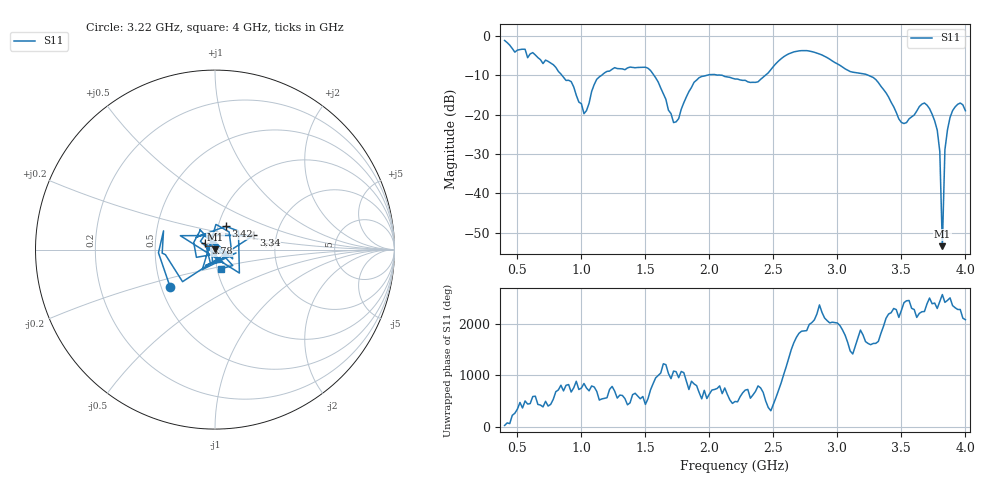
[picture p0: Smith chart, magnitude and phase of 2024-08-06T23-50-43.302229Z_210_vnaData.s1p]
!Created with skrf (http://scikit-rf.org).
# Hz S RI R 50.0
!freq ReS11 ImS11
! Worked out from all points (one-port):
!   181 points, 400 MHz to 4 GHz, reference 50 ohm
!   lowest |S11| = -53.4 dB at 3.82 GHz (marker M1), VSWR 1.00, Z = 50.1 + j0.183 ohm
!   |S11| at or under -10 dB: 1.566 GHz to 1.985 GHz (419.2 MHz wide, 23.6 % of centre); 2.088 GHz to 2.439 GHz (351.6 MHz wide, 15.5 % of centre); 3.239 GHz to end of sweep (the widest 3 of 4)
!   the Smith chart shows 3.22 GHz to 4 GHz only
!   S11 on the Smith chart (normalised r, x): 3.22 GHz: 0.56, -0.26; 3.34 GHz: 1.52, +0.25; 3.42 GHz: 1.09, +0.29; 3.78 GHz: 0.90, +0.06; 4 GHz: 1.05, -0.23
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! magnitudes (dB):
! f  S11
! 400 MHz  -1.2
! 860 MHz  -10.6
! 920 MHz  -11.6
! 1.02 GHz  -19.8
! 1.12 GHz  -11.1
! 1.3 GHz  -8.4
! 1.52 GHz  -8.2
! 1.6 GHz  -11.8
! 1.72 GHz  -22.0
! 1.76 GHz  -21.0
! 1.92 GHz  -10.6
! 2.2 GHz  -11.0
! 2.38 GHz  -11.7
! 2.66 GHz  -4.1
! 3.1 GHz  -9.1
! 3.22 GHz  -9.8
! 3.34 GHz  -12.8
! 3.42 GHz  -16.9
! 3.5 GHz  -22.0
! 3.56 GHz  -21.1
! 3.68 GHz  -17.1
! 3.78 GHz  -24.0
! 3.8 GHz  -29.4
! 3.82 GHz  -53.4
! 3.84 GHz  -28.9
! 3.86 GHz  -23.9
! 3.92 GHz  -18.1
! 4 GHz  -19.0
